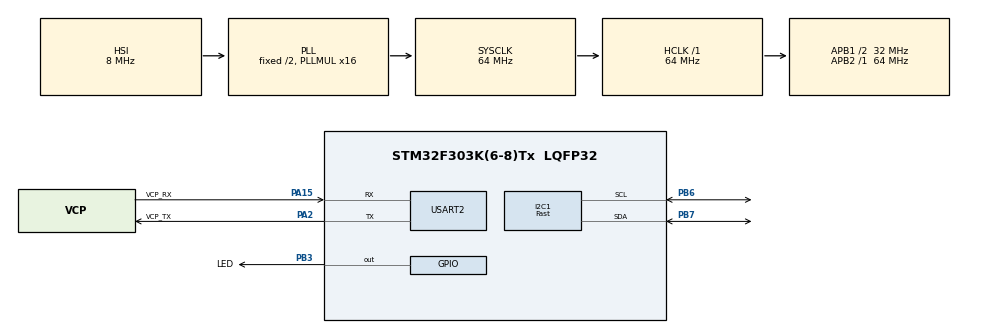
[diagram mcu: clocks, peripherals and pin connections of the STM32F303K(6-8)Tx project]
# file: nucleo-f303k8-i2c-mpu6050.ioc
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Dma.I2C1_RX.1.Direction=DMA_PERIPH_TO_MEMORY
Dma.I2C1_RX.1.Instance=DMA1_Channel3
Dma.I2C1_RX.1.MemDataAlignment=DMA_MDATAALIGN_BYTE
Dma.I2C1_RX.1.MemInc=DMA_MINC_ENABLE
Dma.I2C1_RX.1.Mode=DMA_NORMAL
Dma.I2C1_RX.1.PeriphDataAlignment=DMA_PDATAALIGN_BYTE
Dma.I2C1_RX.1.PeriphInc=DMA_PINC_DISABLE
Dma.I2C1_RX.1.Priority=DMA_PRIORITY_LOW
Dma.I2C1_TX.0.Direction=DMA_MEMORY_TO_PERIPH
Dma.I2C1_TX.0.Instance=DMA1_Channel2
Dma.I2C1_TX.0.MemDataAlignment=DMA_MDATAALIGN_BYTE
Dma.I2C1_TX.0.MemInc=DMA_MINC_ENABLE
Dma.I2C1_TX.0.Mode=DMA_NORMAL
Dma.I2C1_TX.0.PeriphDataAlignment=DMA_PDATAALIGN_BYTE
Dma.I2C1_TX.0.PeriphInc=DMA_PINC_DISABLE
Dma.I2C1_TX.0.Priority=DMA_PRIORITY_LOW
Dma.Request0=I2C1_TX
Dma.Request1=I2C1_RX
Dma.Request2=USART2_TX
Dma.USART2_TX.2.Direction=DMA_MEMORY_TO_PERIPH
Dma.USART2_TX.2.Instance=DMA1_Channel7
Dma.USART2_TX.2.MemDataAlignment=DMA_MDATAALIGN_BYTE
Dma.USART2_TX.2.MemInc=DMA_MINC_ENABLE
Dma.USART2_TX.2.Mode=DMA_NORMAL
Dma.USART2_TX.2.PeriphDataAlignment=DMA_PDATAALIGN_BYTE
Dma.USART2_TX.2.PeriphInc=DMA_PINC_DISABLE
Dma.USART2_TX.2.Priority=DMA_PRIORITY_LOW
I2C1.I2C_Speed_Mode=I2C_Fast
I2C1.Timing=0x0000020B
Mcu.Family=STM32F3
Mcu.Name=STM32F303K(6-8)Tx
Mcu.Package=LQFP32
NVIC.DMA1_Channel2_IRQn=true\:0\:0\:false\:false\:true
NVIC.DMA1_Channel3_IRQn=true\:0\:0\:false\:false\:true
NVIC.DMA1_Channel7_IRQn=true\:0\:0\:false\:false\:true
NVIC.I2C1_EV_IRQn=true\:0\:0\:false\:false\:true
NVIC.PriorityGroup=NVIC_PRIORITYGROUP_4
NVIC.TIM7_DAC2_IRQn=true\:0\:0\:false\:false\:true
NVIC.USART2_IRQn=true\:0\:0\:false\:false\:true
PA13.GPIO_Label=SWDIO
PA13.Mode=Serial_Wire
PA13.Signal=SYS_JTMS-SWDIO
PA14.GPIO_Label=SWCLK
PA14.Mode=Serial_Wire
PA14.Signal=SYS_JTCK-SWCLK
PA15.GPIO_Label=VCP_RX
PA15.Mode=Asynchronous
PA15.Signal=USART2_RX
PA2.GPIO_Label=VCP_TX
PA2.Mode=Asynchronous
PA2.Signal=USART2_TX
PB3.GPIO_Label=LED
PB3.Signal=GPIO_Output
PB6.Mode=I2C
PB6.Signal=I2C1_SCL
PB7.Mode=I2C
PB7.Signal=I2C1_SDA
PF0\ /\ OSC_IN.GPIO_Label=MCO
PF0\ /\ OSC_IN.Signal=RCC_OSC_IN
ProjectManager.HeapSize=0x200
ProjectManager.StackSize=0x400
ProjectManager.TargetToolchain=EWARM
RCC.AHBFreq_Value=64000000
RCC.APB1CLKDivider=RCC_HCLK_DIV2
RCC.APB1Freq_Value=32000000
RCC.APB1TimFreq_Value=64000000
RCC.APB2Freq_Value=64000000
RCC.APB2TimFreq_Value=64000000
RCC.CortexFreq_Value=64000000
RCC.HCLKFreq_Value=64000000
RCC.HSE_VALUE=8000000
RCC.HSI_VALUE=8000000
RCC.PLLMUL=RCC_PLL_MUL16
RCC.SYSCLKFreq_VALUE=64000000
RCC.SYSCLKSourceVirtual=RCC_SYSCLKSOURCE_PLLCLK
TIM7.Period=63999
TIM7.Prescaler=99
USART2.WordLength=UART_WORDLENGTH_8B
VP_CRC_VS_CRC.Mode=CRC_Activate
VP_TIM7_VS_ClockSourceINT.Mode=Enable_Timer
board=NUCLEO-F303K8

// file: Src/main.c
/**
  ******************************************************************************
  * File Name          : main.c
  * Description        : Main program body
  ******************************************************************************
  *
  * COPYRIGHT(c) 2016 STMicroelectronics
  *
  * Redistribution and use in source and binary forms, with or without modification,
  * are permitted provided that the following conditions are met:
  *   1. Redistributions of source code must retain the above copyright notice,
  *      this list of conditions and the following disclaimer.
  *   2. Redistributions in binary form must reproduce the above copyright notice,
  *      this list of conditions and the following disclaimer in the documentation
  *      and/or other materials provided with the distribution.
  *   3. Neither the name of STMicroelectronics nor the names of its contributors
  *      may be used to endorse or promote products derived from this software
  *      without specific prior written permission.
  *
  * THIS SOFTWARE IS PROVIDED BY THE COPYRIGHT HOLDERS AND CONTRIBUTORS "AS IS"
  * AND ANY EXPRESS OR IMPLIED WARRANTIES, INCLUDING, BUT NOT LIMITED TO, THE
  * IMPLIED WARRANTIES OF MERCHANTABILITY AND FITNESS FOR A PARTICULAR PURPOSE ARE
  * DISCLAIMED. IN NO EVENT SHALL THE COPYRIGHT HOLDER OR CONTRIBUTORS BE LIABLE
  * FOR ANY DIRECT, INDIRECT, INCIDENTAL, SPECIAL, EXEMPLARY, OR CONSEQUENTIAL
  * DAMAGES (INCLUDING, BUT NOT LIMITED TO, PROCUREMENT OF SUBSTITUTE GOODS OR
  * SERVICES; LOSS OF USE, DATA, OR PROFITS; OR BUSINESS INTERRUPTION) HOWEVER
  * CAUSED AND ON ANY THEORY OF LIABILITY, WHETHER IN CONTRACT, STRICT LIABILITY,
  * OR TORT (INCLUDING NEGLIGENCE OR OTHERWISE) ARISING IN ANY WAY OUT OF THE USE
  * OF THIS SOFTWARE, EVEN IF ADVISED OF THE POSSIBILITY OF SUCH DAMAGE.
  *
  ******************************************************************************
  */
#include "main.h"
#include "stm32f3xx_hal.h"
#include "crc.h"
#include "dma.h"
#include "i2c.h"
#include "tim.h"
#include "usart.h"
#include "gpio.h"

/* USER CODE BEGIN Includes */
#include "ergo_config.h"
#include "motion_sensor.h"
/* USER CODE END Includes */

/* USER CODE BEGIN PV */
/* Private variables ---------------------------------------------------------*/
volatile bool uart2_transmit_complete = false;
volatile bool timer7_flag = false;
volatile bool i2c1_transmit_complete = false;
volatile bool i2c1_receive_complete = false;
u32 count = 0;
static s16 ax, ay, az, gx, gy, gz;
/* USER CODE END PV */

void SystemClock_Config(void);
void Error_Handler(void);

/* USER CODE BEGIN PFP */
/* Private function prototypes -----------------------------------------------*/

/* USER CODE END PFP */

/* USER CODE BEGIN 0 */

static char stxbuff[128];
#define printf(...)                                                            \
    do {                                                                       \
        uart2_transmit_complete = false;                                       \
        sprintf(stxbuff, __VA_ARGS__);                                         \
        HAL_UART_Transmit_DMA(&huart2, (uint8_t *)stxbuff, strlen(stxbuff));   \
        while (!uart2_transmit_complete) __WFE();                              \
    } while (0)

#define uart_write_buffer(BUFFER, LENGTH)                                      \
    do {                                                                       \
        uart2_transmit_complete = false;                                       \
        HAL_UART_Transmit_DMA(&huart2, (uint8_t *)BUFFER, LENGTH);             \
        while (!uart2_transmit_complete) __WFE();                              \
    } while (0)

/* USER CODE END 0 */

int main(void)
{

    /* MCU Configuration----------------------------------------------------------*/

    /* Reset of all peripherals, Initializes the Flash interface and the Systick. */
    HAL_Init();

    /* Configure the system clock */
    SystemClock_Config();

    /* Initialize all configured peripherals */
    MX_GPIO_Init();
    MX_DMA_Init();
    MX_I2C1_Init();
    MX_TIM7_Init();
    MX_USART2_UART_Init();
    MX_CRC_Init();

    /* USER CODE BEGIN 2 */
    printf("\r\n\r\n*** FIRMWARE RESET ***\r\n\r\n");
    HAL_Delay(1000);
    HAL_TIM_Base_Start_IT(&htim7);
    motion_sensor_create();
    motion_sensor_mode_activate_ever();
    // motion_sensor_mode_cycle();
    /* USER CODE END 2 */

    /* Infinite loop */
    while (1) {

        /* USER CODE BEGIN 3 */
        if (timer7_flag) {
            HAL_GPIO_TogglePin(LED_GPIO_Port, LED_Pin);
            // printf("count = %u\r\n", count++);

            motion_sensor_read_each(&ax, &ay, &az, &gx, &gy, &gz);
            printf("accel: (%8.4f, %8.4f, %8.4f)     gyro: (%12.4f, %12.4f, %12.4f)\r\n",
                   ((s32)ax) * 16.0 / 32768,
                   ((s32)ay) * 16.0 / 32768,
                   ((s32)az) * 16.0 / 32768,
                   ((s32)gx) * 2000.0 / 32768,
                   ((s32)gy) * 2000.0 / 32768,
                   ((s32)gz) * 2000.0 / 32768);

            timer7_flag = false;
        }

        __WFE();
    }
    /* USER CODE END 3 */

}

/** System Clock Configuration
*/
void SystemClock_Config(void)
{

    RCC_OscInitTypeDef RCC_OscInitStruct;
    RCC_ClkInitTypeDef RCC_ClkInitStruct;
    RCC_PeriphCLKInitTypeDef PeriphClkInit;

    /**Initializes the CPU, AHB and APB busses clocks
    */
    RCC_OscInitStruct.OscillatorType = RCC_OSCILLATORTYPE_HSI;
    RCC_OscInitStruct.HSIState = RCC_HSI_ON;
    RCC_OscInitStruct.HSICalibrationValue = 16;
    RCC_OscInitStruct.PLL.PLLState = RCC_PLL_ON;
    RCC_OscInitStruct.PLL.PLLSource = RCC_PLLSOURCE_HSI;
    RCC_OscInitStruct.PLL.PLLMUL = RCC_PLL_MUL16;
    if (HAL_RCC_OscConfig(&RCC_OscInitStruct) != HAL_OK) {
        Error_Handler();
    }

    /**Initializes the CPU, AHB and APB busses clocks
    */
    RCC_ClkInitStruct.ClockType = RCC_CLOCKTYPE_HCLK | RCC_CLOCKTYPE_SYSCLK
                                  | RCC_CLOCKTYPE_PCLK1 | RCC_CLOCKTYPE_PCLK2;
    RCC_ClkInitStruct.SYSCLKSource = RCC_SYSCLKSOURCE_PLLCLK;
    RCC_ClkInitStruct.AHBCLKDivider = RCC_SYSCLK_DIV1;
    RCC_ClkInitStruct.APB1CLKDivider = RCC_HCLK_DIV2;
    RCC_ClkInitStruct.APB2CLKDivider = RCC_HCLK_DIV1;

    if (HAL_RCC_ClockConfig(&RCC_ClkInitStruct, FLASH_LATENCY_2) != HAL_OK) {
        Error_Handler();
    }

    PeriphClkInit.PeriphClockSelection = RCC_PERIPHCLK_I2C1;
    PeriphClkInit.I2c1ClockSelection = RCC_I2C1CLKSOURCE_HSI;
    if (HAL_RCCEx_PeriphCLKConfig(&PeriphClkInit) != HAL_OK) {
        Error_Handler();
    }

    /**Configure the Systick interrupt time
    */
    HAL_SYSTICK_Config(HAL_RCC_GetHCLKFreq() / 1000);

    /**Configure the Systick
    */
    HAL_SYSTICK_CLKSourceConfig(SYSTICK_CLKSOURCE_HCLK);

    /* SysTick_IRQn interrupt configuration */
    HAL_NVIC_SetPriority(SysTick_IRQn, 0, 0);
}

void Error_Handler(void)
{
    while (1) {
    }
}

/************************ (C) COPYRIGHT STMicroelectronics *****END OF FILE****/
